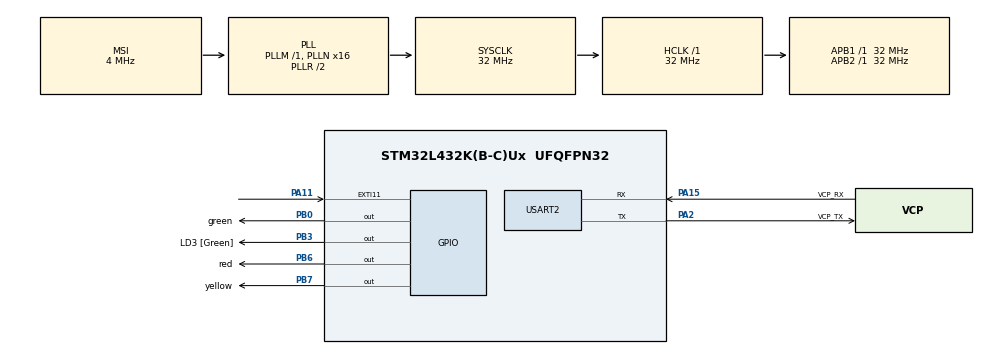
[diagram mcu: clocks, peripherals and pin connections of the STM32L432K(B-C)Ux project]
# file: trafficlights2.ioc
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Mcu.Family=STM32L4
Mcu.Name=STM32L432K(B-C)Ux
Mcu.Package=UFQFPN32
NVIC.EXTI15_10_IRQn=true\:0\:0\:false\:false\:true\:true\:true
NVIC.PriorityGroup=NVIC_PRIORITYGROUP_4
NVIC.TIM1_BRK_TIM15_IRQn=true\:0\:0\:false\:false\:true\:true\:true
NVIC.TIM1_CC_IRQn=true\:0\:0\:false\:false\:true\:true\:true
NVIC.TIM1_TRG_COM_IRQn=true\:0\:0\:false\:false\:true\:true\:true
NVIC.TIM1_UP_TIM16_IRQn=true\:0\:0\:false\:false\:true\:true\:true
PA0.GPIO_Label=MCO [High speed clock in]
PA0.Mode=HSE-External-Clock-Source-for-LittleOrca
PA0.Signal=RCC_CK_IN
PA11.GPIO_ModeDefaultEXTI=GPIO_MODE_IT_FALLING
PA11.Signal=GPXTI11
PA13\ (JTMS-SWDIO).GPIO_Label=SWDIO
PA13\ (JTMS-SWDIO).Mode=Serial_Wire
PA13\ (JTMS-SWDIO).Signal=SYS_JTMS-SWDIO
PA14\ (JTCK-SWCLK).GPIO_Label=SWCLK
PA14\ (JTCK-SWCLK).Mode=Serial_Wire
PA14\ (JTCK-SWCLK).Signal=SYS_JTCK-SWCLK
PA15\ (JTDI).GPIO_Label=VCP_RX
PA15\ (JTDI).Mode=Asynchronous
PA15\ (JTDI).Signal=USART2_RX
PA2.GPIO_Label=VCP_TX
PA2.Mode=Asynchronous
PA2.Signal=USART2_TX
PB0.GPIO_Label=green
PB0.Signal=GPIO_Output
PB3\ (JTDO-TRACESWO).GPIO_Label=LD3 [Green]
PB3\ (JTDO-TRACESWO).Signal=GPIO_Output
PB6.GPIO_Label=red
PB6.Signal=GPIO_Output
PB7.GPIO_Label=yellow
PB7.Signal=GPIO_Output
PC14-OSC32_IN\ (PC14).Mode=LSE-External-Oscillator
PC14-OSC32_IN\ (PC14).Signal=RCC_OSC32_IN
PC15-OSC32_OUT\ (PC15).Mode=LSE-External-Oscillator
PC15-OSC32_OUT\ (PC15).Signal=RCC_OSC32_OUT
ProjectManager.HeapSize=0x200
ProjectManager.StackSize=0x400
ProjectManager.TargetToolchain=Makefile
RCC.AHBFreq_Value=32000000
RCC.APB1Freq_Value=32000000
RCC.APB1TimFreq_Value=32000000
RCC.APB2Freq_Value=32000000
RCC.APB2TimFreq_Value=32000000
RCC.CortexFreq_Value=32000000
RCC.HCLKFreq_Value=32000000
RCC.HSE_VALUE=8000000
RCC.HSI16_VALUE=16000000
RCC.HSI48_VALUE=48000000
RCC.HSI_VALUE=16000000
RCC.MSI_VALUE=4000000
RCC.PLLMUL=RCC_PLLMUL_4
RCC.PLLN=16
RCC.SYSCLKFreq_VALUE=32000000
RCC.SYSCLKSource=RCC_SYSCLKSOURCE_PLLCLK
RCC.VCOOutputFreq_Value=64000000
TIM1.CounterMode=TIM_COUNTERMODE_DOWN
TIM1.Period=50
TIM1.Prescaler=32000
USART2.VirtualMode-Asynchronous=VM_ASYNC
VP_TIM1_VS_ClockSourceINT.Mode=Internal
board=NUCLEO-L432KC

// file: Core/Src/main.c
/* USER CODE BEGIN Header */
/**
  ******************************************************************************
  * @file           : main.c
  * @brief          : Main program body
  ******************************************************************************
  * @attention
  *
  * <h2><center>&copy; Copyright (c) 2021 STMicroelectronics.
  * All rights reserved.</center></h2>
  *
  * This software component is licensed by ST under BSD 3-Clause license,
  * the "License"; You may not use this file except in compliance with the
  * License. You may obtain a copy of the License at:
  *                        opensource.org/licenses/BSD-3-Clause
  *
  ******************************************************************************
  */
/* USER CODE END Header */
#include "main.h"

TIM_HandleTypeDef htim1;

UART_HandleTypeDef huart2;

/* USER CODE BEGIN PV */
uint16_t green_time = 10000; //10 sekunden
uint16_t red_time = 10000; // 10 sekunden
uint16_t yellow_time = 3000; //3 sekunden

uint8_t flag = 0;
uint8_t interrupted;
/* USER CODE END PV */

void SystemClock_Config(void);
static void MX_GPIO_Init(void);
static void MX_USART2_UART_Init(void);
static void MX_TIM1_Init(void);

/* USER CODE BEGIN 0 */

void HAL_GPIO_EXTI_Callback(uint16_t GPIO_Pin) {

	if(GPIO_Pin == GPIO_PIN_11) {
		HAL_TIM_Base_Start_IT(&htim1);

	}
	else{
		__NOP();
	}

}

void HAL_TIM_PeriodElapsedCallback(TIM_HandleTypeDef *htim)
{

  if(HAL_GPIO_ReadPin(GPIOA, GPIO_PIN_11)) {

	  if(flag == 1) flag = 0;

	  else {
		  flag = 1;
	  }

	  interrupted = 1;

	  HAL_TIM_Base_Stop_IT(&htim1);
  }
}

void reset_out_pins() {
	HAL_GPIO_WritePin(GPIOB, GPIO_PIN_0, GPIO_PIN_RESET);
	HAL_GPIO_WritePin(GPIOB, GPIO_PIN_6, GPIO_PIN_RESET);
	HAL_GPIO_WritePin(GPIOB, GPIO_PIN_7, GPIO_PIN_RESET);
}

void normal_mode() {
	// rot = 6
	// gruen = 0
	// gelb = 7

	// rot an
	HAL_GPIO_TogglePin(GPIOB, GPIO_PIN_6);
	HAL_Delay(red_time);
	if(flag == 1) return;

	// gelb an
	HAL_GPIO_TogglePin(GPIOB, GPIO_PIN_7);
	HAL_Delay(yellow_time);
	if(flag == 1) return;

	// gelb und rot aus , gruen an
	HAL_GPIO_TogglePin(GPIOB, GPIO_PIN_7);
	HAL_GPIO_TogglePin(GPIOB, GPIO_PIN_6);
	HAL_GPIO_TogglePin(GPIOB, GPIO_PIN_0);
	HAL_Delay(green_time);
	if(flag == 1) return;

	// gelb an gruen aus
	HAL_GPIO_TogglePin(GPIOB, GPIO_PIN_0);
	HAL_GPIO_TogglePin(GPIOB, GPIO_PIN_7);
	HAL_Delay(yellow_time);
	if(flag == 1) return;

	// gelb aus rot an
	HAL_GPIO_TogglePin(GPIOB, GPIO_PIN_7);
	HAL_GPIO_TogglePin(GPIOB, GPIO_PIN_6);
	HAL_Delay(red_time);
	if(flag == 1) return;
}

void blink_mode() {
	HAL_GPIO_TogglePin(GPIOB, GPIO_PIN_7);
	HAL_Delay(1000);
	if(flag == 0) return;
	HAL_GPIO_TogglePin(GPIOB, GPIO_PIN_7);
	HAL_Delay(1000);
	if(flag == 0) return;

}

/* USER CODE END 0 */

int main(void)
{

  /* MCU Configuration--------------------------------------------------------*/

  /* Reset of all peripherals, Initializes the Flash interface and the Systick. */
  HAL_Init();

  /* Configure the system clock */
  SystemClock_Config();

  /* Initialize all configured peripherals */
  MX_GPIO_Init();
  MX_USART2_UART_Init();
  MX_TIM1_Init();

  /* Infinite loop */
  while (1)
  {
	if(flag == 0) {
		normal_mode();
	}
	else {
		blink_mode();
	}
	reset_out_pins();
  }
}

void SystemClock_Config(void)
{
  RCC_OscInitTypeDef RCC_OscInitStruct = {0};
  RCC_ClkInitTypeDef RCC_ClkInitStruct = {0};
  RCC_PeriphCLKInitTypeDef PeriphClkInit = {0};

  /** Configure LSE Drive Capability
  */
  HAL_PWR_EnableBkUpAccess();
  __HAL_RCC_LSEDRIVE_CONFIG(RCC_LSEDRIVE_LOW);
  /** Initializes the RCC Oscillators according to the specified parameters
  * in the RCC_OscInitTypeDef structure.
  */
  RCC_OscInitStruct.OscillatorType = RCC_OSCILLATORTYPE_LSE|RCC_OSCILLATORTYPE_MSI;
  RCC_OscInitStruct.LSEState = RCC_LSE_ON;
  RCC_OscInitStruct.MSIState = RCC_MSI_ON;
  RCC_OscInitStruct.MSICalibrationValue = 0;
  RCC_OscInitStruct.MSIClockRange = RCC_MSIRANGE_6;
  RCC_OscInitStruct.PLL.PLLState = RCC_PLL_ON;
  RCC_OscInitStruct.PLL.PLLSource = RCC_PLLSOURCE_MSI;
  RCC_OscInitStruct.PLL.PLLM = 1;
  RCC_OscInitStruct.PLL.PLLN = 16;
  RCC_OscInitStruct.PLL.PLLP = RCC_PLLP_DIV7;
  RCC_OscInitStruct.PLL.PLLQ = RCC_PLLQ_DIV2;
  RCC_OscInitStruct.PLL.PLLR = RCC_PLLR_DIV2;
  if (HAL_RCC_OscConfig(&RCC_OscInitStruct) != HAL_OK)
  {
    Error_Handler();
  }
  /** Initializes the CPU, AHB and APB buses clocks
  */
  RCC_ClkInitStruct.ClockType = RCC_CLOCKTYPE_HCLK|RCC_CLOCKTYPE_SYSCLK
                              |RCC_CLOCKTYPE_PCLK1|RCC_CLOCKTYPE_PCLK2;
  RCC_ClkInitStruct.SYSCLKSource = RCC_SYSCLKSOURCE_PLLCLK;
  RCC_ClkInitStruct.AHBCLKDivider = RCC_SYSCLK_DIV1;
  RCC_ClkInitStruct.APB1CLKDivider = RCC_HCLK_DIV1;
  RCC_ClkInitStruct.APB2CLKDivider = RCC_HCLK_DIV1;

  if (HAL_RCC_ClockConfig(&RCC_ClkInitStruct, FLASH_LATENCY_1) != HAL_OK)
  {
    Error_Handler();
  }
  PeriphClkInit.PeriphClockSelection = RCC_PERIPHCLK_USART2;
  PeriphClkInit.Usart2ClockSelection = RCC_USART2CLKSOURCE_PCLK1;
  if (HAL_RCCEx_PeriphCLKConfig(&PeriphClkInit) != HAL_OK)
  {
    Error_Handler();
  }
  /** Configure the main internal regulator output voltage
  */
  if (HAL_PWREx_ControlVoltageScaling(PWR_REGULATOR_VOLTAGE_SCALE1) != HAL_OK)
  {
    Error_Handler();
  }
  /** Enable MSI Auto calibration
  */
  HAL_RCCEx_EnableMSIPLLMode();
}

static void MX_TIM1_Init(void)
{

  TIM_ClockConfigTypeDef sClockSourceConfig = {0};
  TIM_MasterConfigTypeDef sMasterConfig = {0};

  htim1.Instance = TIM1;
  htim1.Init.Prescaler = 32000;
  htim1.Init.CounterMode = TIM_COUNTERMODE_DOWN;
  htim1.Init.Period = 50;
  htim1.Init.ClockDivision = TIM_CLOCKDIVISION_DIV1;
  htim1.Init.RepetitionCounter = 0;
  htim1.Init.AutoReloadPreload = TIM_AUTORELOAD_PRELOAD_DISABLE;
  if (HAL_TIM_Base_Init(&htim1) != HAL_OK)
  {
    Error_Handler();
  }
  sClockSourceConfig.ClockSource = TIM_CLOCKSOURCE_INTERNAL;
  if (HAL_TIM_ConfigClockSource(&htim1, &sClockSourceConfig) != HAL_OK)
  {
    Error_Handler();
  }
  sMasterConfig.MasterOutputTrigger = TIM_TRGO_RESET;
  sMasterConfig.MasterOutputTrigger2 = TIM_TRGO2_RESET;
  sMasterConfig.MasterSlaveMode = TIM_MASTERSLAVEMODE_DISABLE;
  if (HAL_TIMEx_MasterConfigSynchronization(&htim1, &sMasterConfig) != HAL_OK)
  {
    Error_Handler();
  }

}

static void MX_USART2_UART_Init(void)
{

  huart2.Instance = USART2;
  huart2.Init.BaudRate = 115200;
  huart2.Init.WordLength = UART_WORDLENGTH_8B;
  huart2.Init.StopBits = UART_STOPBITS_1;
  huart2.Init.Parity = UART_PARITY_NONE;
  huart2.Init.Mode = UART_MODE_TX_RX;
  huart2.Init.HwFlowCtl = UART_HWCONTROL_NONE;
  huart2.Init.OverSampling = UART_OVERSAMPLING_16;
  huart2.Init.OneBitSampling = UART_ONE_BIT_SAMPLE_DISABLE;
  huart2.AdvancedInit.AdvFeatureInit = UART_ADVFEATURE_NO_INIT;
  if (HAL_UART_Init(&huart2) != HAL_OK)
  {
    Error_Handler();
  }

}

static void MX_GPIO_Init(void)
{
  GPIO_InitTypeDef GPIO_InitStruct = {0};

  /* GPIO Ports Clock Enable */
  __HAL_RCC_GPIOC_CLK_ENABLE();
  __HAL_RCC_GPIOA_CLK_ENABLE();
  __HAL_RCC_GPIOB_CLK_ENABLE();

  /*Configure GPIO pin Output Level */
  HAL_GPIO_WritePin(GPIOB, green_Pin|LD3_Pin|red_Pin|yellow_Pin, GPIO_PIN_RESET);

  /*Configure GPIO pins : green_Pin LD3_Pin red_Pin yellow_Pin */
  GPIO_InitStruct.Pin = green_Pin|LD3_Pin|red_Pin|yellow_Pin;
  GPIO_InitStruct.Mode = GPIO_MODE_OUTPUT_PP;
  GPIO_InitStruct.Pull = GPIO_NOPULL;
  GPIO_InitStruct.Speed = GPIO_SPEED_FREQ_LOW;
  HAL_GPIO_Init(GPIOB, &GPIO_InitStruct);

  /*Configure GPIO pin : PA11 */
  GPIO_InitStruct.Pin = GPIO_PIN_11;
  GPIO_InitStruct.Mode = GPIO_MODE_IT_FALLING;
  GPIO_InitStruct.Pull = GPIO_NOPULL;
  HAL_GPIO_Init(GPIOA, &GPIO_InitStruct);

  /* EXTI interrupt init*/
  HAL_NVIC_SetPriority(EXTI15_10_IRQn, 0, 0);
  HAL_NVIC_EnableIRQ(EXTI15_10_IRQn);

}

void Error_Handler(void)
{
}

/************************ (C) COPYRIGHT STMicroelectronics *****END OF FILE****/
